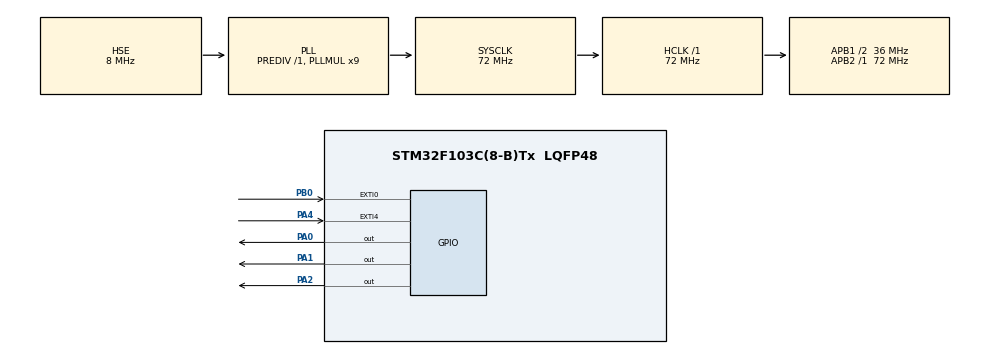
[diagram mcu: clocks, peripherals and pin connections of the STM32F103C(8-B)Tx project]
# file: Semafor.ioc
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Mcu.Family=STM32F1
Mcu.Name=STM32F103C(8-B)Tx
Mcu.Package=LQFP48
NVIC.EXTI0_IRQn=true\:0\:0\:false\:false\:true\:true\:true\:true
NVIC.EXTI4_IRQn=true\:0\:0\:false\:false\:true\:true\:true\:true
NVIC.PriorityGroup=NVIC_PRIORITYGROUP_4
PA0-WKUP.Signal=GPIO_Output
PA1.Signal=GPIO_Output
PA13.Mode=Serial_Wire
PA13.Signal=SYS_JTMS-SWDIO
PA14.Mode=Serial_Wire
PA14.Signal=SYS_JTCK-SWCLK
PA2.Signal=GPIO_Output
PA4.GPIO_PuPd=GPIO_PULLDOWN
PA4.Signal=GPXTI4
PB0.GPIO_PuPd=GPIO_PULLDOWN
PB0.Signal=GPXTI0
PD0-OSC_IN.Mode=HSE-External-Oscillator
PD0-OSC_IN.Signal=RCC_OSC_IN
PD1-OSC_OUT.Mode=HSE-External-Oscillator
PD1-OSC_OUT.Signal=RCC_OSC_OUT
ProjectManager.HeapSize=0x200
ProjectManager.StackSize=0x400
ProjectManager.TargetToolchain=STM32CubeIDE
RCC.AHBFreq_Value=72000000
RCC.APB1CLKDivider=RCC_HCLK_DIV2
RCC.APB1Freq_Value=36000000
RCC.APB1TimFreq_Value=72000000
RCC.APB2Freq_Value=72000000
RCC.APB2TimFreq_Value=72000000
RCC.HCLKFreq_Value=72000000
RCC.PLLMUL=RCC_PLL_MUL9
RCC.PLLSourceVirtual=RCC_PLLSOURCE_HSE
RCC.SYSCLKFreq_VALUE=72000000
RCC.SYSCLKSource=RCC_SYSCLKSOURCE_PLLCLK
RCC.USBFreq_Value=72000000
board=custom

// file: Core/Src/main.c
/* USER CODE BEGIN Header */
/**
  ******************************************************************************
  * @file           : main.c
  * @brief          : Main program body
  ******************************************************************************
  * @attention
  *
  * Copyright (c) 2022 STMicroelectronics.
  * All rights reserved.
  *
  * This software is licensed under terms that can be found in the LICENSE file
  * in the root directory of this software component.
  * If no LICENSE file comes with this software, it is provided AS-IS.
  *
  ******************************************************************************
  */
/* USER CODE END Header */
#include "main.h"

void SystemClock_Config(void);
static void MX_GPIO_Init(void);

/* USER CODE BEGIN 0 */
volatile SEMAPHORE_STATES prekidStanje;
volatile SEMAPHORE_STATES sledeceStanje = CRVENO;
volatile SEMAPHORE_STATES trenutnoStanje = CRVENO;
uint8_t prekid = 0;
/* USER CODE END 0 */

int main(void)
{

  /* MCU Configuration--------------------------------------------------------*/

  /* Reset of all peripherals, Initializes the Flash interface and the Systick. */
  HAL_Init();

  /* Configure the system clock */
  SystemClock_Config();

  /* Initialize all configured peripherals */
  MX_GPIO_Init();

  /* Infinite loop */
  /* USER CODE BEGIN WHILE */
  while (1)
  {
	  if(prekid)
	  {
		  trenutnoStanje = prekidStanje;
		  prekid = 0;
	  }
	  else
		  trenutnoStanje = sledeceStanje;

	  switch(trenutnoStanje)
	  {
		  case CRVENO:
		  {
			  HAL_GPIO_WritePin(GPIOA, CRVENI_PIN, GPIO_PIN_RESET);
			  HAL_GPIO_WritePin(GPIOA, ZUTI_PIN, GPIO_PIN_SET);
			  HAL_GPIO_WritePin(GPIOA, ZELENI_PIN, GPIO_PIN_SET);
			  HAL_Delay(5000);
			  sledeceStanje = CRVENO_ZUTO;
		  }
		  break;
		  case CRVENO_ZUTO:
		  {
			  HAL_GPIO_WritePin(GPIOA, CRVENI_PIN, GPIO_PIN_RESET);
			  HAL_GPIO_WritePin(GPIOA, ZUTI_PIN, GPIO_PIN_RESET);
			  HAL_GPIO_WritePin(GPIOA, ZELENI_PIN, GPIO_PIN_SET);
			  HAL_Delay(1000);
			  sledeceStanje = ZELENO;
		  }
		  break;
		  case ZELENO:
		  {
			  HAL_GPIO_WritePin(GPIOA, CRVENI_PIN, GPIO_PIN_SET);
			  HAL_GPIO_WritePin(GPIOA, ZUTI_PIN, GPIO_PIN_SET);
			  HAL_GPIO_WritePin(GPIOA, ZELENI_PIN, GPIO_PIN_RESET);
			  HAL_Delay(5000);
			  sledeceStanje = TREPTI_ZELENO;
		  }
		  break;
		  case TREPTI_ZELENO:
		  {
			  HAL_GPIO_WritePin(GPIOA, CRVENI_PIN, GPIO_PIN_SET);
			  HAL_GPIO_WritePin(GPIOA, ZUTI_PIN, GPIO_PIN_SET);
			  for(int i=0; i<4; i++){
				  HAL_GPIO_WritePin(GPIOA, ZELENI_PIN, i&0x1);
				  HAL_Delay(500);
			  }

			  sledeceStanje = ZUTO;
		  }
		  break;
		  case ZUTO:
		  {
			  HAL_GPIO_WritePin(GPIOA, CRVENI_PIN, GPIO_PIN_SET);
			  HAL_GPIO_WritePin(GPIOA, ZUTI_PIN, GPIO_PIN_RESET);
			  HAL_GPIO_WritePin(GPIOA, ZELENI_PIN, GPIO_PIN_SET);
			  HAL_Delay(2000);
			  sledeceStanje = CRVENO;
		  }
		  break;
		  case TREPTI_ZUTO:
		  {
			  uint8_t zutoStanje = 1;
			  sledeceStanje = TREPTI_ZUTO;
			  HAL_GPIO_WritePin(GPIOA, CRVENI_PIN, GPIO_PIN_SET);
			  HAL_GPIO_WritePin(GPIOA, ZELENI_PIN, GPIO_PIN_SET);
			  while(1){
				  zutoStanje ^= 1;
				  HAL_GPIO_WritePin(GPIOA, ZUTI_PIN, zutoStanje);
				  HAL_Delay(500);
				  if(prekid){
					  break;
				  }
			  }
		  }
		  break;
		  default:
		  {

		  }
	  }
    /* USER CODE END WHILE */

  }
}

void SystemClock_Config(void)
{
  RCC_OscInitTypeDef RCC_OscInitStruct = {0};
  RCC_ClkInitTypeDef RCC_ClkInitStruct = {0};

  /** Initializes the RCC Oscillators according to the specified parameters
  * in the RCC_OscInitTypeDef structure.
  */
  RCC_OscInitStruct.OscillatorType = RCC_OSCILLATORTYPE_HSE;
  RCC_OscInitStruct.HSEState = RCC_HSE_ON;
  RCC_OscInitStruct.HSEPredivValue = RCC_HSE_PREDIV_DIV1;
  RCC_OscInitStruct.HSIState = RCC_HSI_ON;
  RCC_OscInitStruct.PLL.PLLState = RCC_PLL_ON;
  RCC_OscInitStruct.PLL.PLLSource = RCC_PLLSOURCE_HSE;
  RCC_OscInitStruct.PLL.PLLMUL = RCC_PLL_MUL9;
  if (HAL_RCC_OscConfig(&RCC_OscInitStruct) != HAL_OK)
  {
    Error_Handler();
  }

  /** Initializes the CPU, AHB and APB buses clocks
  */
  RCC_ClkInitStruct.ClockType = RCC_CLOCKTYPE_HCLK|RCC_CLOCKTYPE_SYSCLK
                              |RCC_CLOCKTYPE_PCLK1|RCC_CLOCKTYPE_PCLK2;
  RCC_ClkInitStruct.SYSCLKSource = RCC_SYSCLKSOURCE_PLLCLK;
  RCC_ClkInitStruct.AHBCLKDivider = RCC_SYSCLK_DIV1;
  RCC_ClkInitStruct.APB1CLKDivider = RCC_HCLK_DIV2;
  RCC_ClkInitStruct.APB2CLKDivider = RCC_HCLK_DIV1;

  if (HAL_RCC_ClockConfig(&RCC_ClkInitStruct, FLASH_LATENCY_2) != HAL_OK)
  {
    Error_Handler();
  }
}

static void MX_GPIO_Init(void)
{
  GPIO_InitTypeDef GPIO_InitStruct = {0};

  /* GPIO Ports Clock Enable */
  __HAL_RCC_GPIOD_CLK_ENABLE();
  __HAL_RCC_GPIOA_CLK_ENABLE();
  __HAL_RCC_GPIOB_CLK_ENABLE();

  /*Configure GPIO pin Output Level */
  HAL_GPIO_WritePin(GPIOA, GPIO_PIN_0|GPIO_PIN_1|GPIO_PIN_2, GPIO_PIN_RESET);

  /*Configure GPIO pins : PA0 PA1 PA2 */
  GPIO_InitStruct.Pin = GPIO_PIN_0|GPIO_PIN_1|GPIO_PIN_2;
  GPIO_InitStruct.Mode = GPIO_MODE_OUTPUT_PP;
  GPIO_InitStruct.Pull = GPIO_NOPULL;
  GPIO_InitStruct.Speed = GPIO_SPEED_FREQ_LOW;
  HAL_GPIO_Init(GPIOA, &GPIO_InitStruct);

  /*Configure GPIO pin : PA4 */
  GPIO_InitStruct.Pin = GPIO_PIN_4;
  GPIO_InitStruct.Mode = GPIO_MODE_IT_RISING;
  GPIO_InitStruct.Pull = GPIO_PULLDOWN;
  HAL_GPIO_Init(GPIOA, &GPIO_InitStruct);

  /*Configure GPIO pin : PB0 */
  GPIO_InitStruct.Pin = GPIO_PIN_0;
  GPIO_InitStruct.Mode = GPIO_MODE_IT_RISING;
  GPIO_InitStruct.Pull = GPIO_PULLDOWN;
  HAL_GPIO_Init(GPIOB, &GPIO_InitStruct);

  /* EXTI interrupt init*/
  HAL_NVIC_SetPriority(EXTI0_IRQn, 0, 0);
  HAL_NVIC_EnableIRQ(EXTI0_IRQn);

  HAL_NVIC_SetPriority(EXTI4_IRQn, 0, 0);
  HAL_NVIC_EnableIRQ(EXTI4_IRQn);

}

void Error_Handler(void)
{
  __disable_irq();
  while (1)
  {
  }
}
